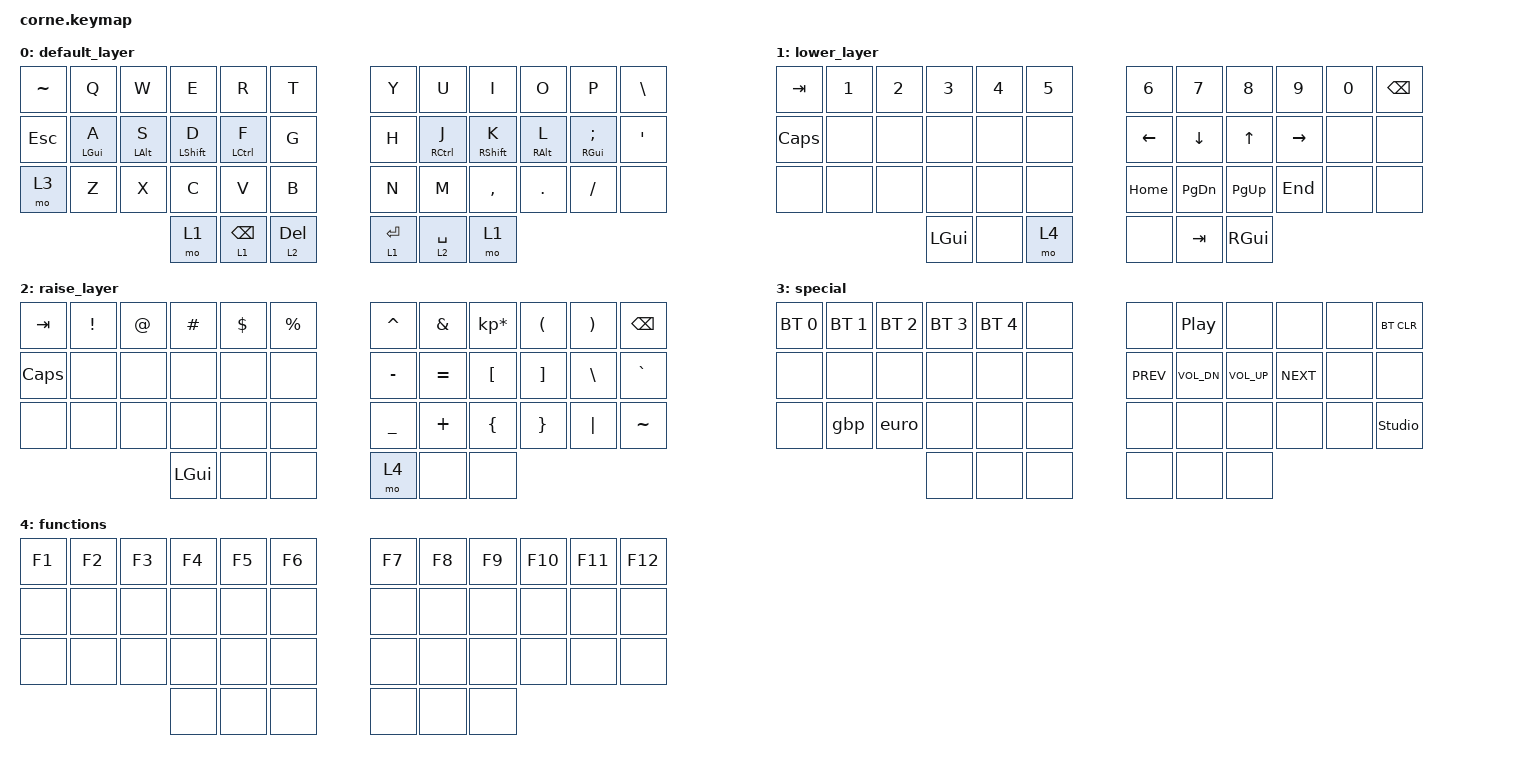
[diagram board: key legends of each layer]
/*
 * Copyright (c) 2020 The ZMK Contributors
 *
 * SPDX-License-Identifier: MIT
 */

#include <behaviors.dtsi>
#include <dt-bindings/zmk/bt.h>
#include <dt-bindings/zmk/keys.h>

/ {
    behaviors {
        hml: home_row_mod_left {
            compatible = "zmk,behavior-hold-tap";
            label = "Homerow Mod Left";
            bindings = <&kp>, <&kp>;

            #binding-cells = <2>;
            tapping-term-ms = <280>;
            quick-tap-ms = <175>;
            flavor = "balanced";
            hold-trigger-on-release;
            hold-trigger-key-positions = <6 7 8 9 10 22 34 33 21 20 32 31 19 18 30 11 23 35 39 40 41>;
            require-prior-idle-ms = <150>;
        };

        hmr: home_row_mod_right {
            compatible = "zmk,behavior-hold-tap";
            label = "Homerow Mod Right";
            bindings = <&kp>, <&kp>;

            #binding-cells = <2>;
            tapping-term-ms = <280>;
            quick-tap-ms = <175>;
            flavor = "balanced";
            hold-trigger-on-release;
            require-prior-idle-ms = <150>;
            hold-trigger-key-positions = <1 2 3 4 5 13 14 15 16 17 25 26 27 28 29 0 12 24 38 37 36>;
        };
    };

    macros {
        gbp: gbp {
            compatible = "zmk,behavior-macro";
            #binding-cells = <0>;
            bindings = <&kp LS(LC(U)) &kp NUMBER_0 &kp NUMBER_0 &kp A &kp NUMBER_3 &kp SPACE>;
            label = "GBP";
        };

        euro: euro {
            compatible = "zmk,behavior-macro";
            #binding-cells = <0>;
            bindings = <&kp LS(LC(U)) &kp NUMBER_2 &kp NUMBER_0 &kp A &kp C &kp SPACE>;
            label = "EURO";
        };
    };

    keymap {
        compatible = "zmk,keymap";

        default_layer {
            // -----------------------------------------------------------------------------------------
            // |  TAB |  Q  |  W  |  E  |  R  |  T  |   |  Y  |  U   |  I  |  O  |  P  | BKSP |
            // | CTRL |  A  |  S  |  D  |  F  |  G  |   |  H  |  J   |  K  |  L  |  ;  |  '   |
            // | SHFT |  Z  |  X  |  C  |  V  |  B  |   |  N  |  M   |  ,  |  .  |  /  | ESC  |
            //                    | GUI | LWR | SPC |   | ENT | RSE  | ALT |

            bindings = <
&kp TILDE   &kp Q        &kp W        &kp E          &kp R            &kp T        &kp Y        &kp U         &kp I         &kp O        &kp P           &kp BACKSLASH
&kp ESCAPE  &hml LGUI A  &hml LALT S  &hml LSHIFT D  &hml LCTRL F     &kp G        &kp H        &hmr RCTRL J  &hmr RSHFT K  &hmr RALT L  &hmr RGUI SEMI  &kp SQT
&mo 3       &kp Z        &kp X        &kp C          &kp V            &kp B        &kp N        &kp M         &kp COMMA     &kp DOT      &kp FSLH        &none
                                      &mo 1          &lt 1 BACKSPACE  &lt 2 DEL    &lt 1 ENTER  &lt 2 SPACE   &mo 1
            >;
        };

        lower_layer {
            // -----------------------------------------------------------------------------------------
            // |  TAB |  1  |  2  |  3  |  4  |  5  |   |  6  |  7  |  8  |  9  |  0  | BKSP |
            // | BTCLR| BT1 | BT2 | BT3 | BT4 | BT5 |   | LFT | DWN |  UP | RGT |     |      |
            // | SHFT |     |     |     |     |     |   |     |     |     |     |     |      |
            //                    | GUI |     | SPC |   | ENT |     | ALT |

            bindings = <
&kp TAB   &kp N1  &kp N2  &kp N3        &kp N4  &kp N5    &kp N6    &kp N7     &kp N8         &kp N9     &kp N0  &kp BSPC
&kp CAPS  &none   &none   &none         &none   &none     &kp LEFT  &kp DOWN   &kp UP         &kp RIGHT  &none   &none
&none     &none   &none   &none         &none   &none     &kp HOME  &kp PG_DN  &kp PG_UP      &kp END    &none   &none
                          &kp LEFT_GUI  &none   &mo 4     &none     &kp TAB    &kp RIGHT_GUI
            >;
        };

        raise_layer {
            // -----------------------------------------------------------------------------------------
            // |  TAB |  !  |  @  |  #  |  $  |  %  |   |  ^  |  &  |  *  |  (  |  )  | BKSP |
            // | CTRL |     |     |     |     |     |   |  -  |  =  |  [  |  ]  |  \  |  `   |
            // | SHFT |     |     |     |     |     |   |  _  |  +  |  {  |  }  | "|" |  ~   |
            //                    | GUI |     | SPC |   | ENT |     | ALT |

            bindings = <
&kp TAB   &kp EXCL  &kp AT  &kp HASH  &kp DLLR  &kp PRCNT    &kp CARET  &kp AMPS   &kp KP_MULTIPLY  &kp LPAR  &kp RPAR  &kp BSPC
&kp CAPS  &none     &none   &none     &none     &none        &kp MINUS  &kp EQUAL  &kp LBKT         &kp RBKT  &kp BSLH  &kp GRAVE
&none     &none     &none   &none     &none     &none        &kp UNDER  &kp PLUS   &kp LBRC         &kp RBRC  &kp PIPE  &kp TILDE
                            &kp LGUI  &none     &none        &mo 4      &none      &none
            >;
        };

        special {
            bindings = <
&bt BT_SEL 0  &bt BT_SEL 1  &bt BT_SEL 2  &bt BT_SEL 3  &bt BT_SEL 4  &none    &none       &kp C_PLAY_PAUSE  &none         &none       &none  &bt BT_CLR
&none         &none         &none         &none         &none         &none    &kp C_PREV  &kp C_VOL_DN      &kp C_VOL_UP  &kp C_NEXT  &none  &none
&none         &gbp          &euro         &none         &none         &none    &none       &none             &none         &none       &none  &studio_unlock
                                          &none         &none         &none    &none       &none             &none
            >;
        };

        functions {
            bindings = <
&kp F1  &kp F2  &kp F3  &kp F4  &kp F5  &kp F6    &kp F7  &kp F8  &kp F9  &kp F10  &kp F11  &kp F12
&none   &none   &none   &none   &none   &none     &none   &none   &none   &none    &none    &none
&none   &none   &none   &none   &none   &none     &none   &none   &none   &none    &none    &none
                        &none   &none   &none     &none   &none   &none
            >;
        };
    };
};
